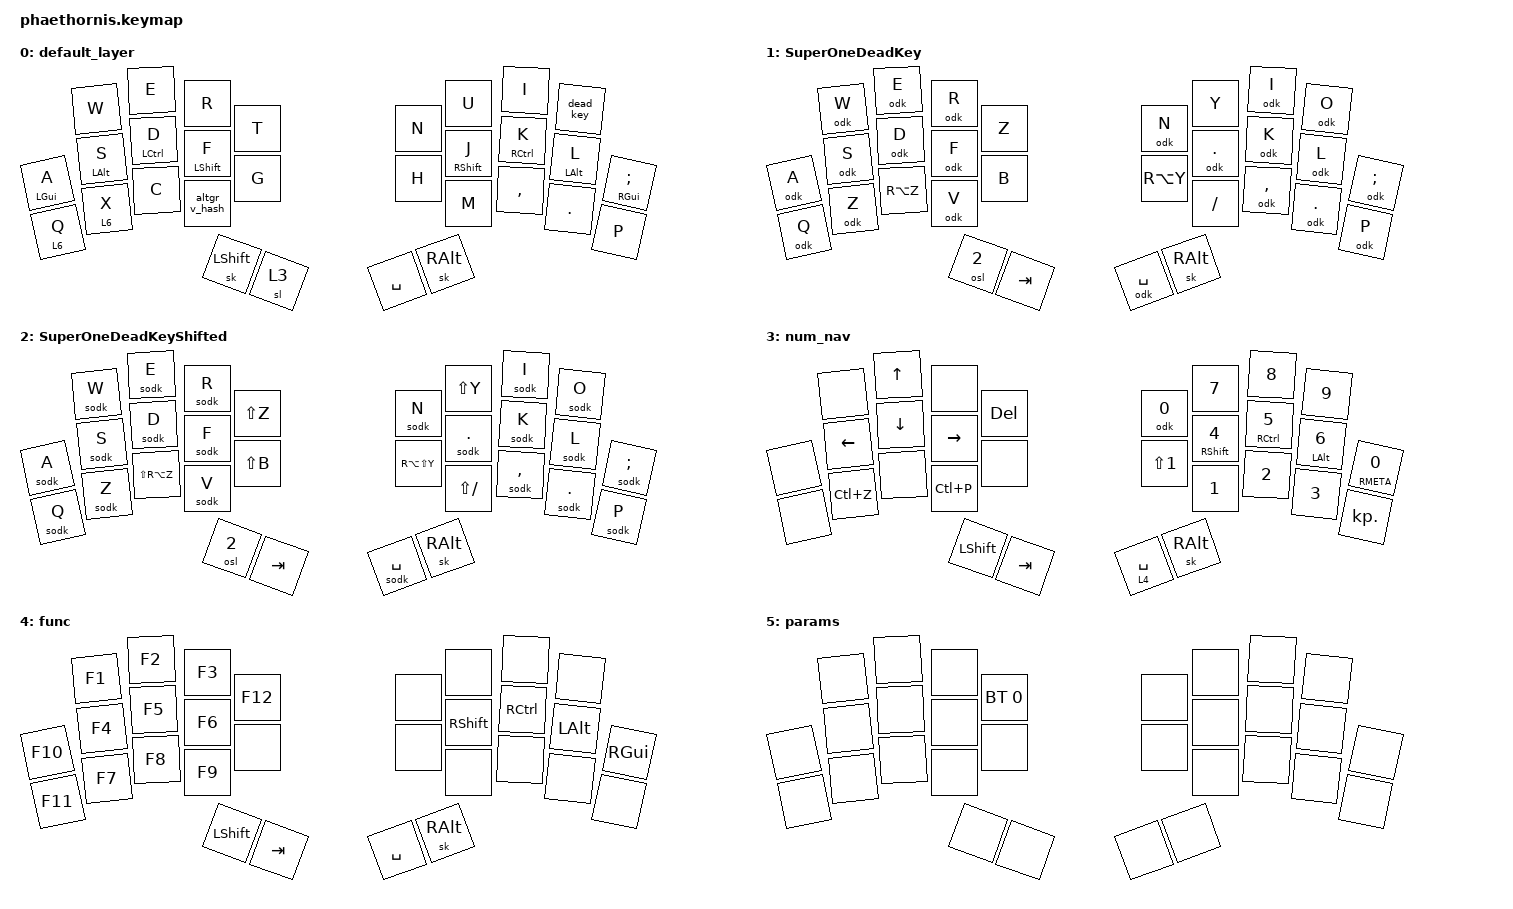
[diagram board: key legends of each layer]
#include <dt-bindings/zmk/mouse.h>
#include <dt-bindings/zmk/input_transform.h>
#include <behaviors/mouse_keys.dtsi>

#define MS LSHFT
#define MA LALT
#define MC LCTL

#include <zephyr/dt-bindings/input/input-event-codes.h>
#include <behaviors.dtsi>
#include <dt-bindings/zmk/bt.h>
#include <dt-bindings/zmk/keys.h>

#define LAYER_BASE          0
#define LAYER_ODK           1
#define LAYER_ODK_SHIFT     2
#define LAYER_NUMNAV        3
#define LAYER_NUM_ROW       4
#define LAYER_FUNC          5
#define LAYER_PARAM         6

/ {
    behaviors {
        HMR_R: HMR_R {
            compatible = "zmk,behavior-hold-tap";
            label = "HMR_R";
            bindings = <&kp>, <&kp>;

            #binding-cells = <2>;
            tapping-term-ms = <200>;
            quick-tap-ms = <175>;
            flavor = "balanced";
            hold-trigger-key-positions = <0 1 2 3 8 9 10 11 12 18 19 20 21 26 27 28 29 30>;
            hold-trigger-on-release;
            require-prior-idle-ms = <210>;
        };

        HRM_L: HRM_L {
            compatible = "zmk,behavior-hold-tap";
            label = "HRM_L";
            bindings = <&kp>, <&kp>;

            #binding-cells = <2>;
            tapping-term-ms = <200>;
            quick-tap-ms = <175>;
            hold-trigger-on-release;
            hold-trigger-key-positions = <4 5 6 7 13 14 15 16 17 22 23 24 25 29 30 28 27 26>;
            flavor = "balanced";
            require-prior-idle-ms = <210>;
        };

        osm: one_shot_modifier {
            compatible = "zmk,behavior-macro-one-param";
            #binding-cells = <1>;
            tap-ms = <0>;
            wait-ms = <0>;
            bindings =
                <&macro_param_1to1>,
                <&macro_tap>,
                <&sk MACRO_PLACEHOLDER>;
        };

        osl: one_shot_layer {
            compatible = "zmk,behavior-macro-one-param";
            #binding-cells = <1>;
            tap-ms = <0>;
            wait-ms = <0>;
            bindings =
                <&macro_param_1to1>,
                <&macro_tap>,
                <&sl MACRO_PLACEHOLDER>;
        };

        // I mean, it wants everything at the same time

        bls: bisexual_layer_switch {
            compatible = "zmk,behavior-hold-tap";
            #binding-cells = <2>;
            tapping-term-ms = <200>;
            flavor = "tap-preferred";
            bindings = <&mo>, <&osl>;
        };

        dead_key: dead_key {
            compatible = "zmk,behavior-mod-morph";
            #binding-cells = <0>;
            bindings = <&bls 1 1>, <&kp O>;

            mods = <(MOD_LSFT|MOD_RSFT|MOD_RALT|MOD_LGUI)>;
            keep-mods = <(MOD_LSFT|MOD_RSFT|MOD_RALT|MOD_LGUI|MOD_LCTL)>;
        };

        nsodk: no_shift_one_dead_key {
            compatible = "zmk,behavior-mod-morph";
            #binding-cells = <0>;
            bindings = <&kp O>, <&kp O>;

            mods = <(MOD_LSFT)>;
        };

        altgr_v_hash: altgr_v_hash {
            compatible = "zmk,behavior-mod-morph";
            label = "ALTGR_V_HASH";
            bindings = <&kp V>, <&kp RA(B)>;

            #binding-cells = <0>;
            mods = <(MOD_RALT)>;
        };
    };

    macros {
        odk: one_dead_key {
            compatible = "zmk,behavior-macro-one-param";
            #binding-cells = <1>;
            tap-ms = <0>;
            wait-ms = <0>;
            bindings =
                <&macro_tap>,
                <&nsodk &macro_param_1to1>,
                <&macro_tap>,
                <&kp MACRO_PLACEHOLDER>;
        };

        sodk: shifted_one_dead_key {
            compatible = "zmk,behavior-macro-one-param";
            #binding-cells = <1>;
            tap-ms = <0>;
            wait-ms = <0>;
            bindings =
                <&macro_tap>,
                <&nsodk>,
                <&macro_press>,
                <&kp LSHFT &macro_param_1to1>,
                <&macro_tap>,
                <&kp MACRO_PLACEHOLDER>,
                <&macro_release>,
                <&kp LSHFT>;
        };
    };

    combos {
        compatible = "zmk,combos";

        enter {
            bindings = <&kp ENTER>;
            key-positions = <16 15 14>;
            require-prior-idle-ms = <0>;
            timeout-ms = <15>;
        };

        printscreen {
            bindings = <&kp PRINTSCREEN>;
            key-positions = <21 19 10>;
            require-prior-idle-ms = <250>;
        };

        capslock {
            bindings = <&kp CAPSLOCK>;
            key-positions = <20 21>;
            require-prior-idle-ms = <0>;
            timeout-ms = <15>;
        };

        kp_divide {
            bindings = <&kp KP_DIVIDE>;
            key-positions = <6 15>;
            layers = <3>;
            require-prior-idle-ms = <0>;
            timeout-ms = <15>;
        };

        kp_mult {
            bindings = <&kp KP_ASTERISK>;
            key-positions = <15 23>;
            layers = <3>;
            require-prior-idle-ms = <0>;
            timeout-ms = <15>;
        };

        kp_q {
            bindings = <&kp Q>;
            key-positions = <9 0>;
            layers = <0>;
        };

        odk_q {
            bindings = <&odk Q>;
            key-positions = <9 0>;
            layers = <1>;
        };

        sodk_q {
            bindings = <&odk Q>;
            key-positions = <9 0>;
            layers = <2>;
        };

        kp_y {
            bindings = <&kp P>;
            key-positions = <16 7>;
            layers = <0>;
        };

        odk_y {
            bindings = <&odk P>;
            key-positions = <16 7>;
            layers = <1>;
        };

        sodk_y {
            bindings = <&odk P>;
            key-positions = <16 7>;
            layers = <2>;
        };

        backspace {
            bindings = <&kp BACKSPACE>;
            key-positions = <15 16>;
            require-prior-idle-ms = <0>;
            timeout-ms = <15>;
        };

        tab {
            bindings = <&kp TAB>;
            key-positions = <9 10>;
            require-prior-idle-ms = <0>;
            timeout-ms = <15>;
        };

        esc {
            bindings = <&kp ESCAPE>;
            key-positions = <1 0>;
            require-prior-idle-ms = <0>;
            timeout-ms = <15>;
        };

        numpad_plus {
            bindings = <&kp KP_PLUS>;
            key-positions = <16 24>;
            require-prior-idle-ms = <0>;
            layers = <3>;
            timeout-ms = <15>;
        };

        numpad_minus {
            bindings = <&kp KP_MINUS>;
            key-positions = <16 7>;
            require-prior-idle-ms = <0>;
            layers = <3>;
            timeout-ms = <15>;
        };

        shift_tab {
            bindings = <&kp LS(TAB)>;
            key-positions = <9 10>;
            timeout-ms = <15>;
            require-prior-idle-ms = <0>;
        };

        ctrl_backspace {
            bindings = <&kp LC(BACKSPACE)>;
            key-positions = <6 7>;
            timeout-ms = <15>;
            require-prior-idle-ms = <0>;
        };
    };

    keymap {
        compatible = "zmk,keymap";

        default_layer {
            bindings = <
                   &kp W              &kp E           &kp R           &kp T  &kp N      &kp U            &kp I           &dead_key
&HRM_L LEFT_GUI A  &HRM_L LEFT_ALT S  &HRM_L LCTRL D  &HRM_L LSHFT F  &kp G  &kp H      &HMR_R RSHIFT J  &HMR_R RCTRL K  &HMR_R LEFT_ALT L  &HMR_R RGUI SEMI
&lt 6 Q            &lt 6 X            &kp C           &altgr_v_hash                     &kp M            &kp COMMA       &kp DOT            &kp P
                                                      &sk LEFT_SHIFT  &sl 3  &kp SPACE  &sk RIGHT_ALT
            >;
        };

        super_odk {
            display-name = "SuperOneDeadKey";
            bindings = <
        &odk W  &odk E     &odk R  &kp Z    &odk N      &kp Y          &odk I      &odk O
&odk A  &odk S  &odk D     &odk F  &kp B    &kp RA(Y)   &odk PERIOD    &odk K      &odk L    &odk SEMI
&odk Q  &odk Z  &kp RA(Z)  &odk V                       &kp SLASH      &odk COMMA  &odk DOT  &odk P
                           &osl 2  &kp TAB  &odk SPACE  &sk RIGHT_ALT
            >;
        };

        super_odk_shift {
            display-name = "SuperOneDeadKeyShifted";
            bindings = <
         &sodk W  &sodk E        &sodk R  &kp LS(Z)  &sodk N        &kp LS(Y)      &sodk I      &sodk O
&sodk A  &sodk S  &sodk D        &sodk F  &kp LS(B)  &kp RA(LS(Y))  &sodk PERIOD   &sodk K      &sodk L    &sodk SEMI
&sodk Q  &sodk Z  &kp LS(RA(Z))  &sodk V                            &kp LS(SLASH)  &sodk COMMA  &sodk DOT  &sodk P
                                 &osl 2   &kp TAB    &sodk SPACE    &sk RIGHT_ALT
            >;
        };

        num_nav {
            bindings = <
       &none           &kp UP_ARROW    &none      &kp DELETE  &odk N0           &kp N7                 &kp N8           &kp N9
&none  &kp LEFT_ARROW  &kp DOWN_ARROW  &kp RIGHT  &none       &kp LS(NUMBER_1)  &HMR_R RSHFT NUMBER_4  &HMR_R RCTRL N5  &HMR_R LALT NUMBER_6  &HMR_R RMETA N0
&none  &kp LC(Z)       &none           &kp LC(P)                                &kp NUMBER_1           &kp NUMBER_2     &kp NUMBER_3          &kp KP_DOT
                                       &kp LSHFT  &kp TAB     &lt 4 SPACE       &sk RIGHT_ALT
            >;
        };

        func {
            bindings = <
         &kp F1  &kp F2  &kp F3     &kp F12  &none      &none       &none      &none
&kp F10  &kp F4  &kp F5  &kp F6     &none    &none      &kp RSHIFT  &kp RCTRL  &kp LEFT_ALT  &kp RGUI
&kp F11  &kp F7  &kp F8  &kp F9                         &none       &none      &none         &none
                         &kp LSHFT  &kp TAB  &kp SPACE  &sk RALT
            >;
        };

        params {
            bindings = <
       &none  &none  &none  &bt BT_SEL 0  &none  &none  &none  &none
&none  &none  &none  &none  &none         &none  &none  &none  &none  &none
&none  &none  &none  &none                       &none  &none  &none  &none
                     &none  &none         &none  &none
            >;
        };
    };
};
